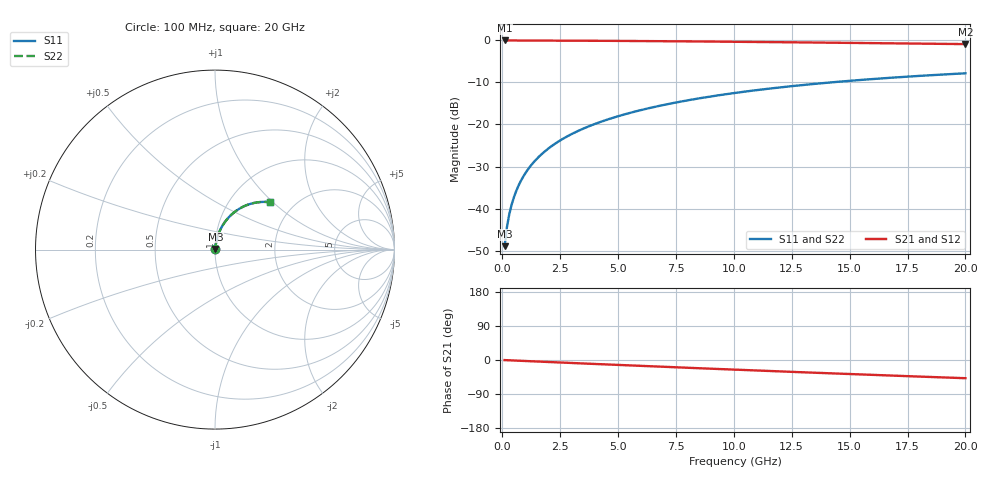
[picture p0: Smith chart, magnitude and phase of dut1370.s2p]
! Touchstone file exported from HFSS 2026.1.0
!  File:  C:/ffzhzh/LocalFiles/Ansys_Project_Files/temp_train_BSMRDL_1370_1783179359_51560.aedt
!  Generated:  11:37:23 PM Jul  4, 2026
!  Design:  BSMRDL
!  Project:  temp_train_BSMRDL_1370_1783179359_51560
! Variables:
!  h_bsmrdl = 5.75um
!  h_ox = 20um
!  h_rdl = 5um
!  h_sub = 80um
!  h_tmrdl = 5um
!  h_tsv = 80um
!  h_via = 3um
!  l_bsmrdl = 737.2um
!  l_sub = 1137.2um
!  l_tmrdl = 200um
!  m_sub = 200um
!  pitch = 51.03um
!  r_tsv = 6um
!  s_tmrdl = 10um
!  w_bsmrdl = 22.56um
!  w_sub = 500um
!  w_tmrdl = 12um
!  x_tsv_center1 = 206um
!  x_tsv_center2 = 965.76um
!  x_tsv_center3 = 1177.76um
!  x_tsv_center4 = 1937.52um
!  x_tsv_center5 = 2149.52um
!  x_tsv_center6 = 2909.28um
# GHz S MA R 50.000000
! Terminal data exported
! Port[1] = BSM_RDL1_1_T1
! Port[2] = BSM_RDL1_1_T2
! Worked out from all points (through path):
!   200 points, 100 MHz to 20 GHz, reference 50 ohm
!   highest |S21| = -0.02 dB at 100 MHz (marker M1); lowest = -0.9 dB at 20 GHz (marker M2)
!   group delay of S21, straight-line fit = 6.67 ps
!   lowest |S11| = -48.9 dB at 100 MHz (marker M3), VSWR 1.01, Z = 50.2 + j0.283 ohm
!   |S11| at or under -10 dB: start of sweep to 14.18 GHz
!   |S22| runs from -48.9 to -7.8 dB; largest |S21 - S12| = 1.3e-14
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0.1  0.003569 52.0  0.9978 -0.3  0.9978 -0.3  0.003569 52.0
! Gamma 0 0 0 0
! Port Impedance 50 0 50 0
0.2  0.006002 66.5  0.9976 -0.5  0.9976 -0.5  0.006002 66.5
0.3  0.008514 72.3  0.9975 -0.8  0.9975 -0.8  0.008514 72.3
0.4  0.01104 75.5  0.9974 -1.1  0.9974 -1.1  0.01104 75.5
0.5  0.01358 77.4  0.9973 -1.3  0.9973 -1.3  0.01358 77.4
0.7  0.0187 79.6  0.9971 -1.9  0.9971 -1.9  0.0187 79.6
0.8  0.02127 80.2  0.997 -2.1  0.997 -2.1  0.02127 80.2
1  0.02641 80.9  0.9968 -2.7  0.9968 -2.7  0.02641 80.9
1.2  0.03156 81.2  0.9965 -3.2  0.9965 -3.2  0.03156 81.2
1.4  0.03669 81.3  0.9962 -3.7  0.9962 -3.7  0.03669 81.3
1.7  0.04437 81.0  0.9956 -4.5  0.9956 -4.5  0.04437 81.0
2  0.05199 80.6  0.995 -5.3  0.995 -5.3  0.05199 80.6
2.7  0.06958 79.3  0.9933 -7.1  0.9933 -7.1  0.06958 79.3
3.5  0.0893 77.6  0.9909 -9.2  0.9909 -9.2  0.0893 77.6
4.2  0.1062 76.0  0.9887 -11.0  0.9887 -11.0  0.1062 76.0
5  0.1253 74.1  0.9858 -13.0  0.9858 -13.0  0.1253 74.1
6.8  0.1668 69.9  0.9786 -17.5  0.9786 -17.5  0.1668 69.9
8.3  0.2001 66.4  0.9716 -21.2  0.9716 -21.2  0.2001 66.4
10.1  0.2381 62.3  0.9624 -25.6  0.9624 -25.6  0.2381 62.3
13.4  0.3022 54.8  0.9434 -33.4  0.9434 -33.4  0.3022 54.8
16.7  0.3582 47.5  0.9232 -40.9  0.9232 -40.9  0.3582 47.5
20  0.4059 40.5  0.9031 -48.0  0.9031 -48.0  0.4059 40.5
